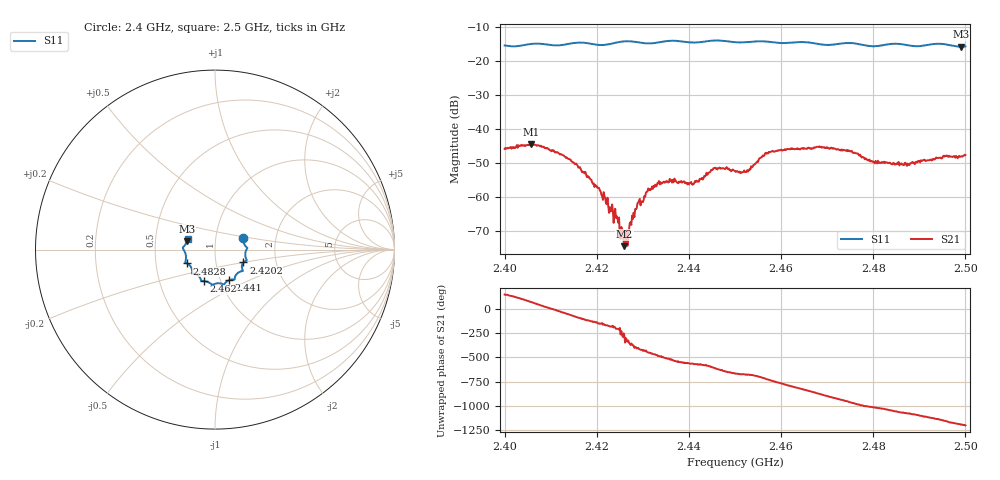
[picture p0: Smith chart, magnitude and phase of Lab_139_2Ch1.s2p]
# Hz S RI R 50
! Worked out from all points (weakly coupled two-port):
!   601 points, 2.4 GHz to 2.5 GHz, reference 50 ohm
!   highest |S21| = -44.55 dB at 2.4057 GHz (marker M1); lowest = -74.5 dB at 2.426 GHz (marker M2)
!   lowest |S11| = -15.8 dB at 2.499 GHz (marker M3), VSWR 1.39, Z = 36.4 + j3.54 ohm
!   |S11| at or under -10 dB: start of sweep to end of sweep
!   S12 and S22 are empty: the file has one direction only
!   S11 on the Smith chart (normalised r, x): 2.4 GHz: 1.36, +0.17; 2.4202 GHz: 1.36, -0.20; 2.441 GHz: 1.10, -0.39; 2.462 GHz: 0.84, -0.30; 2.4828 GHz: 0.72, -0.11; 2.5 GHz: 0.73, +0.09
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2.4e9  0.1581 0.0621  -0.00408 0.00303  0 0  0 0
2.405667e9  0.1781 0.0121  0.00223 0.00549  0 0  0 0
2.412e9  0.1685 -0.0287  0.00362 -0.00214  0 0  0 0
2.416667e9  0.1768 -0.0606  -0.000414 -0.00242  0 0  0 0
2.420167e9  0.1579 -0.0717  -0.00115 -0.000719  0 0  0 0
2.424333e9  0.1526 -0.1093  -0.00046 0.000243  0 0  0 0
2.4255e9  0.1555 -0.1157  1.65e-05 0.000329  0 0  0 0
2.426e9  0.1561 -0.1174  4.58e-05 0.000182  0 0  0 0
2.4265e9  0.1561 -0.1182  0.000256 0.000192  0 0  0 0
2.428833e9  0.1461 -0.1209  0.000515 -0.000616  0 0  0 0
2.433333e9  0.1118 -0.1511  -0.001 -0.00125  0 0  0 0
2.441e9  0.0782 -0.1703  -0.00134 0.000764  0 0  0 0
2.445333e9  0.0514 -0.1937  -0.00105 0.00243  0 0  0 0
2.45e9  0.0278 -0.1876  0.00149 0.00187  0 0  0 0
2.452667e9  0.00192 -0.1897  0.00192 0.00156  0 0  0 0
2.457e9  -0.0202 -0.1923  0.00438 -0.000489  0 0  0 0
2.462e9  -0.0608 -0.1756  0.00138 -0.00482  0 0  0 0
2.466667e9  -0.0787 -0.1678  -0.00355 -0.00379  0 0  0 0
2.482833e9  -0.1572 -0.0768  0.0023 0.00226  0 0  0 0
2.483333e9  -0.1601 -0.0754  0.00242 0.00202  0 0  0 0
2.499e9  -0.1557 0.0473  -0.00145 -0.00364  0 0  0 0
2.5e9  -0.1525 0.0615  -0.00205 -0.00357  0 0  0 0
